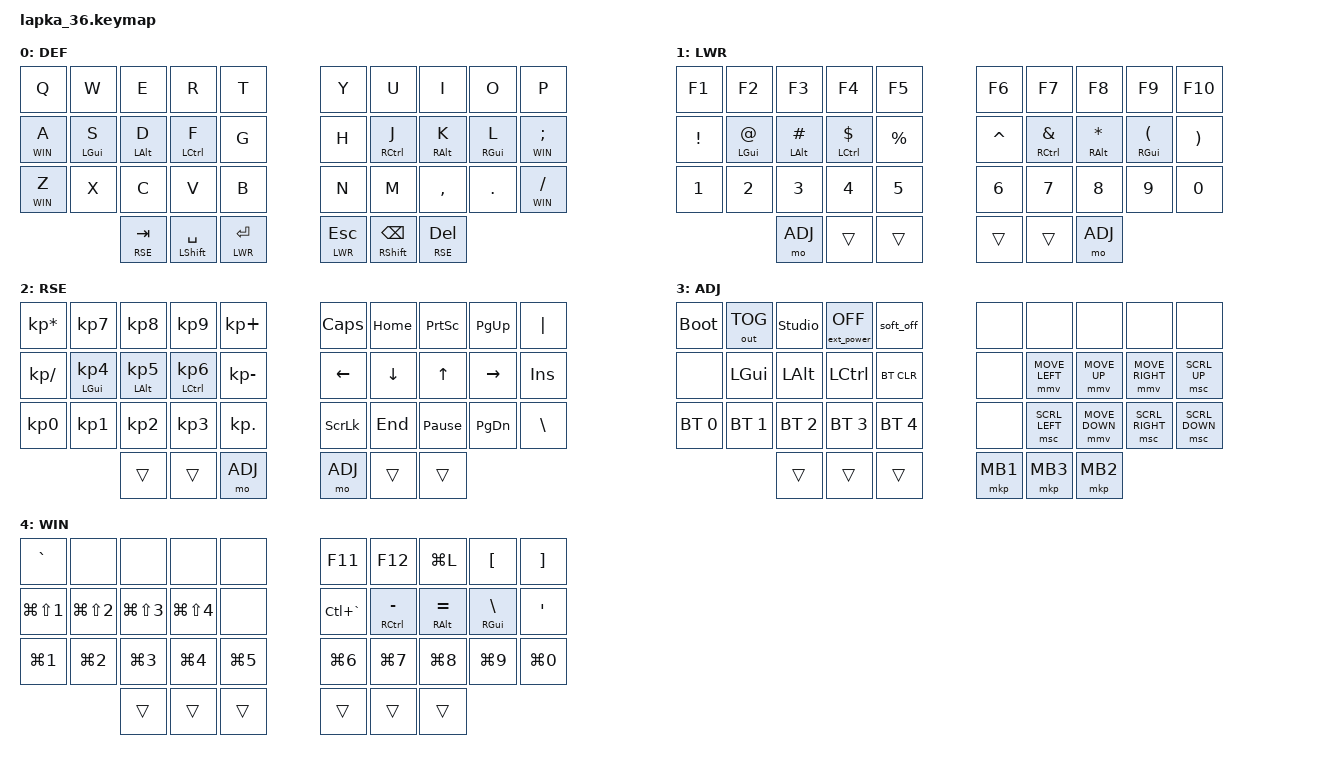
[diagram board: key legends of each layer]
/*
 * Copyright (c) 2020 The ZMK Contributors
 *
 * SPDX-License-Identifier: MIT
 */

#define ZMK_POINTING_DEFAULT_MOVE_VAL 1500  // default: 600
#define ZMK_POINTING_DEFAULT_SCRL_VAL 20    // default: 10

#include <behaviors.dtsi>
#include <dt-bindings/zmk/bt.h>
#include <dt-bindings/zmk/ext_power.h>
#include <dt-bindings/zmk/keys.h>
#include <dt-bindings/zmk/outputs.h>
#include <dt-bindings/zmk/pointing.h>

#define DEF 0
#define LWR 1
#define RSE 2
#define ADJ 3
#define WIN 4

&lt {
    quick-tap-ms = <220>;
    tapping-term-ms = <280>;
    require-prior-idle-ms = <150>;
    flavor = "balanced";
};

&mt {
    quick-tap-ms = <220>;
    tapping-term-ms = <280>;
    require-prior-idle-ms = <150>;
    flavor = "balanced";
};

&mmv {
    time-to-max-speed-ms = <1000>;
};

&msc {
    time-to-max-speed-ms = <600>;
};

/ {

    behaviors {
        mt_h: mod_tap_home {
            compatible = "zmk,behavior-hold-tap";
            #binding-cells = <2>;
            flavor = "tap-preferred";
            tapping-term-ms = <170>;
            require-prior-idle-ms = <150>;
            quick-tap-ms = <300>;
            bindings = <&kp>, <&kp>;
            display-name = "Mod-Tap H";
        };
        lt_h: layer_tap_home {
            compatible = "zmk,behavior-hold-tap";
            #binding-cells = <2>;
            flavor = "tap-preferred";
            tapping-term-ms = <200>;
            require-prior-idle-ms = <150>;
            quick-tap-ms = <300>;
            bindings = <&mo>, <&kp>;
            display-name = "Layer-Tap H";
        };
    };

    combos {
        compatible = "zmk,combos";
// COMMON
//┏━━━━━━┳━━━━━━┳━━━━━━┳━━━━━━┳━━━━━━┓   ┏━━━━━━┳━━━━━━┳━━━━━━┳━━━━━━┳━━━━━━┓
//┃      ┃      ┃    (ESC)    ┃      ┃   ┃      ┃    (ESC)    ┃      ┃      ┃
//┃      ┃      ┃      ┃      ┃      ┃   ┃      ┃      ┃      ┃      ┃      ┃
//┃      ┃      ┃   (ENTER)   ┃      ┃   ┃      ┃   (ENTER)   ┃      ┃      ┃
//┗━━━━━━┻━━━━━━┫      ┃      ┃      ┃   ┃      ┃      ┃      ┣━━━━━━┻━━━━━━┛
//              ┗━━━━━━┻━━━━━━┻━━━━━━┛   ┗━━━━━━┻━━━━━━┻━━━━━━┛
        combo_esc_left {
            timeout-ms = <50>;
            key-positions = <2 3>;
            bindings = <&kp ESC>;
        };
        combo_esc_right {
            timeout-ms = <50>;
            key-positions = <6 7>;
            bindings = <&kp ESC>;
        };
        combo_ret_left {
            timeout-ms = <50>;
            key-positions = <22 23>;
            bindings = <&kp RET>;
        };
        combo_ret_right {
            timeout-ms = <50>;
            key-positions = <26 27>;
            bindings = <&kp RET>;
        };
// DEFAULT
//┏━━━━━━┳━━━━━━┳━━━━━━┳━━━━━━┳━━━━━━┓   ┏━━━━━━┳━━━━━━┳━━━━━━┳━━━━━━┳━━━━━━┓
//┃      ┃      ┃      ┃      ┃      ┃   ┃      ┃      ┃     ([)    (])     ┃
//┃     (`)     ┃      ┃      ┃      ┃   ┃      ┃      ┃      ┃     (')     ┃
//┃      ┃      ┃      ┃      ┃      ┃   ┃      ┃      ┃      ┃     (\)     ┃
//┗━━━━━━┻━━━━━━┫      ┃      ┃      ┃   ┃      ┃      ┃      ┣━━━━━━┻━━━━━━┛
//              ┗━━━━━━┻━━━━━━┻━━━━━━┛   ┗━━━━━━┻━━━━━━┻━━━━━━┛
        combo_lbkt {
            timeout-ms = <50>;
            key-positions = <7 8>;
            layers = <DEF>;
            bindings = <&kp LBKT>;
        };
        combo_rbkt {
            timeout-ms = <50>;
            key-positions = <8 9>;
            layers = <DEF>;
            bindings = <&kp RBKT>;
        };
        combo_grave {
            timeout-ms = <50>;
            key-positions = <10 11>;
            layers = <DEF>;
            bindings = <&kp GRAVE>;
        };
        combo_quote {
            timeout-ms = <50>;
            key-positions = <18 19>;
            layers = <DEF>;
            bindings = <&kp SQT>;
        };
        combo_bslh {
            timeout-ms = <50>;
            key-positions = <28 29>;
            layers = <DEF>;
            bindings = <&kp BSLH>;
        };
// LOWER
//┏━━━━━━┳━━━━━━┳━━━━━━┳━━━━━━┳━━━━━━┓   ┏━━━━━━┳━━━━━━┳━━━━━━┳━━━━━━┳━━━━━━┓
//┃      ┃      ┃      ┃      ┃      ┃   ┃      ┃      ┃    (F11)  (F12)    ┃
//┃      ┃      ┃      ┃      ┃      ┃   ┃      ┃      ┃      ┃      ┃      ┃
//┃     (=)     ┃      ┃      ┃      ┃   ┃      ┃      ┃      ┃     (-)     ┃
//┗━━━━━━┻━━━━━━┫      ┃      ┃      ┃   ┃      ┃      ┃      ┣━━━━━━┻━━━━━━┛
//              ┗━━━━━━┻━━━━━━┻━━━━━━┛   ┗━━━━━━┻━━━━━━┻━━━━━━┛
        combo_f11 {
            timeout-ms = <50>;
            key-positions = <7 8>;
            layers = <LWR>;
            bindings = <&kp F11>;
        };
        combo_f12 {
            timeout-ms = <50>;
            key-positions = <8 9>;
            layers = <LWR>;
            bindings = <&kp F12>;
        };
        combo_equal {
            timeout-ms = <50>;
            key-positions = <20 21>;
            layers = <LWR>;
            bindings = <&kp EQUAL>;
        };
        combo_minus {
            timeout-ms = <50>;
            key-positions = <28 29>;
            layers = <LWR>;
            bindings = <&kp MINUS>;
        };
// RAISE
//┏━━━━━━┳━━━━━━┳━━━━━━┳━━━━━━┳━━━━━━┓   ┏━━━━━━┳━━━━━━┳━━━━━━┳━━━━━━┳━━━━━━┓
//┃      ┃      ┃      ┃      ┃      ┃   ┃      ┃      ┃      ┃      ┃      ┃
//┃      ┃      ┃      ┃      ┃      ┃   ┃      ┃      ┃      ┃      ┃      ┃
//┃   (NUMLCK)  ┃      ┃      ┃      ┃   ┃      ┃      ┃      ┃     (_)     ┃
//┗━━━━━━┻━━━━━━┫      ┃      ┃      ┃   ┃      ┃      ┃      ┣━━━━━━┻━━━━━━┛
//              ┗━━━━━━┻━━━━━━┻━━━━━━┛   ┗━━━━━━┻━━━━━━┻━━━━━━┛
        combo_numlock {
            timeout-ms = <50>;
            key-positions = <20 21>;
            layers = <RSE>;
            bindings = <&kp KP_NLCK>;
        };
        combo_under {
            timeout-ms = <50>;
            key-positions = <28 29>;
            layers = <RSE>;
            bindings = <&kp UNDER>;
        };
// ADJUST
//┏━━━━━━┳━━━━━━┳━━━━━━┳━━━━━━┳━━━━━━┓   ┏━━━━━━┳━━━━━━┳━━━━━━┳━━━━━━┳━━━━━━┓
//┃      ┃      ┃      ┃      ┃      ┃   ┃      ┃      ┃      ┃      ┃      ┃
//┃      ┃      ┃      ┃      ┃      ┃   ┃      ┃      ┃      ┃      ┃      ┃
//┃   (BTCLR)   ┃      ┃      ┃      ┃   ┃      ┃      ┃      ┃      ┃      ┃
//┗━━━━━━┻━━━━━━┫      ┃      ┃      ┃   ┃      ┃      ┃      ┣━━━━━━┻━━━━━━┛
//              ┗━━━━━━┻━━━━━━┻━━━━━━┛   ┗━━━━━━┻━━━━━━┻━━━━━━┛
        combo_btclr {
            timeout-ms = <50>;
            key-positions = <20 21>;
            layers = <ADJ>;
            bindings = <&bt BT_CLR>;
        };
// WIN
//┏━━━━━━┳━━━━━━┳━━━━━━┳━━━━━━┳━━━━━━┓   ┏━━━━━━┳━━━━━━┳━━━━━━┳━━━━━━┳━━━━━━┓
//┃      ┃      ┃      ┃      ┃      ┃   ┃      ┃      ┃      ┃      ┃      ┃
//┃      ┃      ┃      ┃      ┃      ┃   ┃      ┃      ┃      ┃      ┃      ┃
//┃   (GUI `)   ┃      ┃      ┃      ┃   ┃      ┃      ┃      ┃   (GUI `)   ┃
//┗━━━━━━┻━━━━━━┫      ┃      ┃      ┃   ┃      ┃      ┃      ┣━━━━━━┻━━━━━━┛
//              ┗━━━━━━┻━━━━━━┻━━━━━━┛   ┗━━━━━━┻━━━━━━┻━━━━━━┛
        combo_gui_grave_left {
            timeout-ms = <50>;
            key-positions = <20 21>;
            layers = <WIN>;
            bindings = <&kp LG(GRAVE)>;
        };
        combo_gui_grave_right {
            timeout-ms = <50>;
            key-positions = <28 29>;
            layers = <WIN>;
            bindings = <&kp LG(GRAVE)>;
        };
    };

    keymap {
        compatible = "zmk,keymap";

        default_layer {
            display-name = "DEF";
//┏━━━━━━┳━━━━━━┳━━━━━━┳━━━━━━┳━━━━━━┓   ┏━━━━━━┳━━━━━━┳━━━━━━┳━━━━━━┳━━━━━━┓
//┃   Q  ┃   W  ┃   E  ┃   R  ┃   T  ┃   ┃   Y  ┃   U  ┃   I  ┃   O  ┃   P  ┃
//┃ WIN/A┃LGUI/S┃LALT/D┃CTRL/F┃   G  ┃   ┃   H  ┃CTRL/J┃RALT/K┃RGUI/L┃ WIN/;┃
//┃ WIN/Z┃   X  ┃   C  ┃   V  ┃   B  ┃   ┃   N  ┃   M  ┃   ,  ┃   .  ┃ WIN//┃
//┗━━━━━━┻━━━━━━┫RS/TAB┃SH/SPC┃LW/RET┃   ┃LW/ESC┃SH/BSP┃RS/DEL┣━━━━━━┻━━━━━━┛
//              ┗━━━━━━┻━━━━━━┻━━━━━━┛   ┗━━━━━━┻━━━━━━┻━━━━━━┛

            bindings = <

                &kp Q &kp W &kp E &kp R &kp T   &kp Y &kp U &kp I &kp O &kp P
                &lt_h WIN A &mt_h LGUI S &mt_h LALT D &mt_h LCTRL F &kp G   &kp H &mt_h RCTRL J &mt_h RALT K &mt_h RGUI L &lt_h WIN SEMI
                &lt WIN Z &kp X &kp C &kp V &kp B   &kp N &kp M &kp COMMA &kp DOT &lt WIN FSLH
                &lt RSE TAB &mt LSHFT SPACE &lt LWR RET   &lt LWR ESC &mt RSHFT BSPC &lt RSE DEL
            >;
        };

        lower_layer {
            display-name = "LWR";
//┏━━━━━━┳━━━━━━┳━━━━━━┳━━━━━━┳━━━━━━┓   ┏━━━━━━┳━━━━━━┳━━━━━━┳━━━━━━┳━━━━━━┓
//┃  F1  ┃  F2  ┃  F3  ┃  F4  ┃  F5  ┃   ┃  F6  ┃  F7  ┃  F8  ┃  F9  ┃  F10 ┃
//┃   !  ┃LGUI/@┃LALT/#┃CTRL/$┃   %  ┃   ┃   ˆ  ┃CTRL/&┃RALT/*┃RGUI/(┃   )  ┃
//┃   1  ┃   2  ┃   3  ┃   4  ┃   5  ┃   ┃   6  ┃   7  ┃   8  ┃   9  ┃   0  ┃
//┗━━━━━━┻━━━━━━┫  ADJ ┃ -//- ┃ -//- ┃   ┃ -//- ┃ -//- ┃  ADJ ┣━━━━━━┻━━━━━━┛
//              ┗━━━━━━┻━━━━━━┻━━━━━━┛   ┗━━━━━━┻━━━━━━┻━━━━━━┛

            bindings = <

                &kp F1 &kp F2 &kp F3 &kp F4 &kp F5   &kp F6 &kp F7 &kp F8 &kp F9 &kp F10
                &kp EXCL &mt_h LGUI AT &mt_h LALT HASH &mt_h LCTRL DLLR &kp PRCNT   &kp CARET &mt_h RCTRL AMPS &mt_h RALT ASTRK &mt_h RGUI LPAR &kp RPAR
                &kp N1 &kp N2 &kp N3 &kp N4 &kp N5   &kp N6 &kp N7 &kp N8 &kp N9 &kp N0
                &mo ADJ &trans &trans   &trans &trans &mo ADJ
            >;
        };

        raise_layer {
            display-name = "RSE";
//┏━━━━━━┳━━━━━━┳━━━━━━┳━━━━━━┳━━━━━━┓   ┏━━━━━━┳━━━━━━┳━━━━━━┳━━━━━━┳━━━━━━┓
//┃ KP * ┃ KP 7 ┃ KP 8 ┃ KP 9 ┃ KP + ┃   ┃ CAPS ┃ HOME ┃PRT SC┃ P UP ┃   |  ┃
//┃ KP / ┃LG/KP4┃LA/KP5┃LC/KP6┃ KP - ┃   ┃ LEFT ┃ DOWN ┃  UP  ┃ RIGHT┃INSERT┃
//┃ KP 0 ┃ KP 1 ┃ KP 2 ┃ KP 3 ┃ KP . ┃   ┃SCRLCK┃  END ┃ PAUSE┃P DOWN┃   \  ┃
//┗━━━━━━┻━━━━━━┫ -//- ┃ -//- ┃  ADJ ┃   ┃  ADJ ┃ -//- ┃ -//- ┣━━━━━━┻━━━━━━┛
//              ┗━━━━━━┻━━━━━━┻━━━━━━┛   ┗━━━━━━┻━━━━━━┻━━━━━━┛

            bindings = <

                &kp KP_MULTIPLY &kp KP_N7 &kp KP_N8 &kp KP_N9 &kp KP_PLUS   &kp CAPS &kp HOME &kp PSCRN &kp PG_UP &kp PIPE
                &kp KP_DIVIDE &mt_h LGUI KP_N4 &mt_h LALT KP_N5 &mt_h LCTRL KP_N6 &kp KP_MINUS   &kp LEFT &kp DOWN &kp UP &kp RIGHT &kp INSERT
                &kp KP_N0 &kp KP_N1 &kp KP_N2 &kp KP_N3 &kp KP_DOT   &kp SLCK &kp END &kp PAUSE_BREAK &kp PG_DN &kp BSLH
                &trans &trans &mo ADJ   &mo ADJ &trans &trans
            >;
        };

        adjust_layer {
            display-name = "ADJ";
//┏━━━━━━┳━━━━━━┳━━━━━━┳━━━━━━┳━━━━━━┓   ┏━━━━━━┳━━━━━━┳━━━━━━┳━━━━━━┳━━━━━━┓
//┃ BTLDR┃OUT TG┃ STUD ┃pwrOFF┃sftOFF┃   ┃      ┃      ┃      ┃      ┃      ┃
//┃      ┃ LGUI ┃ LALT ┃ LCTRL┃BT CLR┃   ┃      ┃MS LFT┃ MS UP┃MS RGT┃MS W U┃
//┃  BT0 ┃  BT1 ┃  BT2 ┃  BT3 ┃  BT4 ┃   ┃      ┃MS W L┃ MS DN┃MS W R┃MS W D┃
//┗━━━━━━┻━━━━━━┫ -//- ┃ -//- ┃ -//- ┃   ┃lftCLK┃mdlCLK┃rgtCLK┣━━━━━━┻━━━━━━┛
//              ┗━━━━━━┻━━━━━━┻━━━━━━┛   ┗━━━━━━┻━━━━━━┻━━━━━━┛

            bindings = <

                &bootloader &out OUT_TOG &studio_unlock &ext_power EP_OFF &soft_off   &none &none &none &none &none
                &none &kp LGUI &kp LALT &kp LCTRL &bt BT_CLR   &none &mmv MOVE_LEFT &mmv MOVE_UP &mmv MOVE_RIGHT &msc SCRL_UP
                &bt BT_SEL 0 &bt BT_SEL 1 &bt BT_SEL 2 &bt BT_SEL 3 &bt BT_SEL 4   &none &msc SCRL_LEFT &mmv MOVE_DOWN &msc SCRL_RIGHT &msc SCRL_DOWN
                &trans &trans &trans   &mkp MB1 &mkp MB3 &mkp MB2
            >;
        };
        win_layer {
            display-name = "WIN";
//┏━━━━━━┳━━━━━━┳━━━━━━┳━━━━━━┳━━━━━━┓   ┏━━━━━━┳━━━━━━┳━━━━━━┳━━━━━━┳━━━━━━┓
//┃   `  ┃      ┃      ┃      ┃      ┃   ┃  F11 ┃  F12 ┃ GUI L┃   [  ┃   ]  ┃
//┃ GS 1 ┃ GS 2 ┃ GS 3 ┃ GS 4 ┃      ┃   ┃ LC ` ┃CTRL/-┃RALT/=┃RGUI/\┃   '  ┃
//┃ GUI 1┃ GUI 2┃ GUI 3┃ GUI 4┃ GUI 5┃   ┃ GUI 6┃ GUI 7┃ GUI 8┃ GUI 9┃ GUI 0┃
//┗━━━━━━┻━━━━━━┫ -//- ┃ -//- ┃ -//- ┃   ┃ -//- ┃ -//- ┃ -//- ┣━━━━━━┻━━━━━━┛
//              ┗━━━━━━┻━━━━━━┻━━━━━━┛   ┗━━━━━━┻━━━━━━┻━━━━━━┛

            bindings = <

                &kp GRAVE &none &none &none &none   &kp F11 &kp F12 &kp LG(L) &kp LBKT &kp RBKT
                &kp LG(LS(N1)) &kp LG(LS(N2)) &kp LG(LS(N3)) &kp LG(LS(N4)) &none   &kp LC(GRAVE) &mt_h RCTRL MINUS &mt_h RALT EQUAL &mt_h RGUI BSLH &kp SQT
                &kp LG(N1) &kp LG(N2) &kp LG(N3) &kp LG(N4) &kp LG(N5)   &kp LG(N6) &kp LG(N7) &kp LG(N8) &kp LG(N9) &kp LG(N0)
                &trans &trans &trans   &trans &trans &trans
            >;
        };
    };
};
